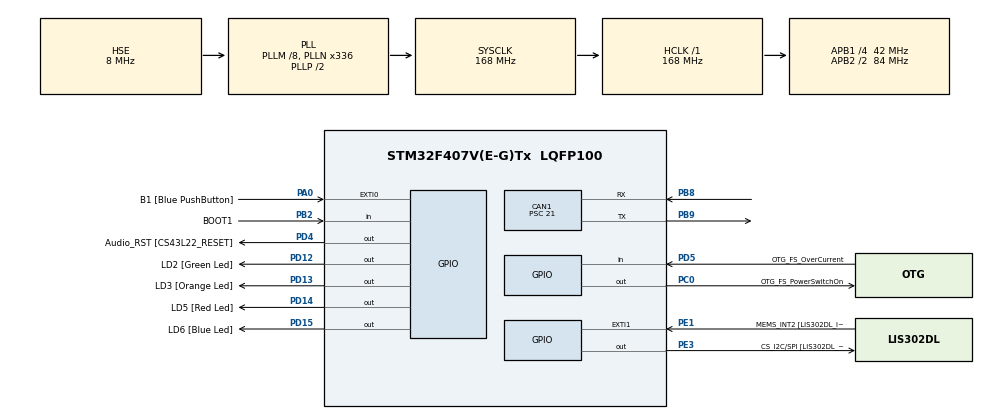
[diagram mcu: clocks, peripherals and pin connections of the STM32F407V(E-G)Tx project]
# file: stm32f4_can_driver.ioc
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CAN1.BS1=CAN_BS1_12TQ
CAN1.BS2=CAN_BS2_3TQ
CAN1.CalculateBaudRate=125000
CAN1.CalculateTimeBit=8000
CAN1.CalculateTimeQuantum=500.0
CAN1.Prescaler=21
Mcu.Family=STM32F4
Mcu.Name=STM32F407V(E-G)Tx
Mcu.Package=LQFP100
NVIC.CAN1_RX0_IRQn=true\:0\:0\:false\:false\:true\:true\:true\:true
NVIC.PriorityGroup=NVIC_PRIORITYGROUP_0
PA0-WKUP.GPIO_Label=B1 [Blue PushButton]
PA0-WKUP.GPIO_ModeDefaultEXTI=GPIO_MODE_EVT_RISING
PA0-WKUP.GPIO_PuPd=GPIO_NOPULL
PA0-WKUP.Signal=GPXTI0
PA10.GPIO_Label=OTG_FS_ID
PA10.GPIO_Mode=GPIO_MODE_AF_PP
PA10.GPIO_PuPd=GPIO_NOPULL
PA10.GPIO_Speed=GPIO_SPEED_FREQ_LOW
PA10.Signal=USB_OTG_FS_ID
PA11.GPIO_Label=OTG_FS_DM
PA11.GPIO_Mode=GPIO_MODE_AF_PP
PA11.GPIO_PuPd=GPIO_NOPULL
PA11.GPIO_Speed=GPIO_SPEED_FREQ_LOW
PA11.Signal=USB_OTG_FS_DM
PA12.GPIO_Label=OTG_FS_DP
PA12.GPIO_Mode=GPIO_MODE_AF_PP
PA12.GPIO_PuPd=GPIO_NOPULL
PA12.GPIO_Speed=GPIO_SPEED_FREQ_LOW
PA12.Signal=USB_OTG_FS_DP
PA13.GPIO_Label=SWDIO
PA13.Mode=Serial_Wire
PA13.Signal=SYS_JTMS-SWDIO
PA14.GPIO_Label=SWCLK
PA14.Mode=Serial_Wire
PA14.Signal=SYS_JTCK-SWCLK
PA4.GPIO_Label=I2S3_WS [CS43L22_LRCK]
PA4.GPIO_Mode=GPIO_MODE_AF_PP
PA4.GPIO_PuPd=GPIO_NOPULL
PA4.GPIO_Speed=GPIO_SPEED_FREQ_LOW
PA4.Signal=I2S3_WS
PA5.GPIO_Label=SPI1_SCK [LIS302DL_SCL/SPC]
PA5.GPIO_Mode=GPIO_MODE_AF_PP
PA5.GPIO_PuPd=GPIO_NOPULL
PA5.GPIO_Speed=GPIO_SPEED_FREQ_LOW
PA5.Signal=SPI1_SCK
PA6.GPIO_Label=SPI1_MISO [LIS302DL_SDO]
PA6.GPIO_Mode=GPIO_MODE_AF_PP
PA6.GPIO_PuPd=GPIO_NOPULL
PA6.GPIO_Speed=GPIO_SPEED_FREQ_LOW
PA6.Signal=SPI1_MISO
PA7.GPIO_Label=SPI1_MOSI [LIS302DL_SDA/SDI/SDO]
PA7.GPIO_Mode=GPIO_MODE_AF_PP
PA7.GPIO_PuPd=GPIO_NOPULL
PA7.GPIO_Speed=GPIO_SPEED_FREQ_LOW
PA7.Signal=SPI1_MOSI
PA9.GPIO_Label=VBUS_FS
PA9.GPIO_Mode=GPIO_MODE_INPUT
PA9.GPIO_PuPd=GPIO_NOPULL
PA9.Signal=USB_OTG_FS_VBUS
PB10.GPIO_Label=CLK_IN [MP45DT02_CLK]
PB10.GPIO_Mode=GPIO_MODE_AF_PP
PB10.GPIO_PuPd=GPIO_NOPULL
PB10.GPIO_Speed=GPIO_SPEED_FREQ_LOW
PB10.Signal=I2S2_CK
PB2.GPIO_Label=BOOT1
PB2.GPIO_Mode=GPIO_MODE_INPUT
PB2.GPIO_PuPd=GPIO_NOPULL
PB2.Signal=GPIO_Input
PB3.GPIO_Label=SWO
PB3.Signal=SYS_JTDO-SWO
PB6.GPIO_Label=Audio_SCL [CS43L22_SCL]
PB6.GPIO_Mode=GPIO_MODE_AF_OD
PB6.GPIO_Pu=GPIO_PULLUP
PB6.GPIO_PuPd=GPIO_NOPULL
PB6.GPIO_Speed=GPIO_SPEED_FREQ_LOW
PB6.Signal=I2C1_SCL
PB8.Mode=CAN_Activate
PB8.Signal=CAN1_RX
PB9.Mode=CAN_Activate
PB9.Signal=CAN1_TX
PC0.GPIO_Label=OTG_FS_PowerSwitchOn
PC0.GPIO_PuPd=GPIO_NOPULL
PC0.GPIO_Speed=GPIO_SPEED_FREQ_LOW
PC0.PinState=GPIO_PIN_SET
PC0.Signal=GPIO_Output
PC10.GPIO_Label=I2S3_SCK [CS43L22_SCLK]
PC10.GPIO_Mode=GPIO_MODE_AF_PP
PC10.GPIO_PuPd=GPIO_NOPULL
PC10.GPIO_Speed=GPIO_SPEED_FREQ_LOW
PC10.Signal=I2S3_CK
PC12.GPIO_Label=I2S3_SD [CS43L22_SDIN]
PC12.GPIO_Mode=GPIO_MODE_AF_PP
PC12.GPIO_PuPd=GPIO_NOPULL
PC12.GPIO_Speed=GPIO_SPEED_FREQ_LOW
PC12.Signal=I2S3_SD
PC14-OSC32_IN.GPIO_Label=PC14-OSC32_IN
PC14-OSC32_IN.Mode=LSE-External-Oscillator
PC14-OSC32_IN.Signal=RCC_OSC32_IN
PC15-OSC32_OUT.GPIO_Label=PC15-OSC32_OUT
PC15-OSC32_OUT.Mode=LSE-External-Oscillator
PC15-OSC32_OUT.Signal=RCC_OSC32_OUT
PC3.GPIO_Label=PDM_OUT [MP45DT02_DOUT]
PC3.GPIO_Mode=GPIO_MODE_AF_PP
PC3.GPIO_PuPd=GPIO_NOPULL
PC3.GPIO_Speed=GPIO_SPEED_FREQ_LOW
PC3.Signal=I2S2_SD
PC7.GPIO_Label=I2S3_MCK [CS43L22_MCLK]
PC7.GPIO_Mode=GPIO_MODE_AF_PP
PC7.GPIO_PuPd=GPIO_NOPULL
PC7.GPIO_Speed=GPIO_SPEED_FREQ_LOW
PC7.Signal=I2S3_MCK
PD12.GPIO_Label=LD2 [Green Led]
PD12.Signal=GPIO_Output
PD13.GPIO_Label=LD3 [Orange Led]
PD13.GPIO_PuPd=GPIO_NOPULL
PD13.GPIO_Speed=GPIO_SPEED_FREQ_LOW
PD13.Signal=GPIO_Output
PD14.GPIO_Label=LD5 [Red Led]
PD14.GPIO_PuPd=GPIO_NOPULL
PD14.GPIO_Speed=GPIO_SPEED_FREQ_LOW
PD14.Signal=GPIO_Output
PD15.GPIO_Label=LD6 [Blue Led]
PD15.GPIO_PuPd=GPIO_NOPULL
PD15.GPIO_Speed=GPIO_SPEED_FREQ_LOW
PD15.Signal=GPIO_Output
PD4.GPIO_Label=Audio_RST [CS43L22_RESET]
PD4.GPIO_PuPd=GPIO_NOPULL
PD4.GPIO_Speed=GPIO_SPEED_FREQ_LOW
PD4.Signal=GPIO_Output
PD5.GPIO_Label=OTG_FS_OverCurrent
PD5.GPIO_Mode=GPIO_MODE_INPUT
PD5.GPIO_PuPd=GPIO_NOPULL
PD5.Signal=GPIO_Input
PE1.GPIO_Label=MEMS_INT2 [LIS302DL_INT2]
PE1.GPIO_ModeDefaultEXTI=GPIO_MODE_EVT_RISING
PE1.GPIO_PuPd=GPIO_NOPULL
PE1.Signal=GPXTI1
PE3.GPIO_Label=CS_I2C/SPI [LIS302DL_CS_I2C/SPI]
PE3.GPIO_PuPd=GPIO_NOPULL
PE3.GPIO_Speed=GPIO_SPEED_FREQ_LOW
PE3.Signal=GPIO_Output
PH0-OSC_IN.GPIO_Label=PH0-OSC_IN
PH0-OSC_IN.Mode=HSE-External-Oscillator
PH0-OSC_IN.Signal=RCC_OSC_IN
PH1-OSC_OUT.GPIO_Label=PH1-OSC_OUT
PH1-OSC_OUT.Mode=HSE-External-Oscillator
PH1-OSC_OUT.Signal=RCC_OSC_OUT
ProjectManager.HeapSize=0x200
ProjectManager.StackSize=0x400
ProjectManager.TargetToolchain=STM32CubeIDE
RCC.48MHZClocksFreq_Value=48000000
RCC.AHBFreq_Value=168000000
RCC.APB1CLKDivider=RCC_HCLK_DIV4
RCC.APB1Freq_Value=42000000
RCC.APB1TimFreq_Value=84000000
RCC.APB2CLKDivider=RCC_HCLK_DIV2
RCC.APB2Freq_Value=84000000
RCC.APB2TimFreq_Value=168000000
RCC.CortexFreq_Value=168000000
RCC.HCLKFreq_Value=168000000
RCC.HSE_VALUE=8000000
RCC.HSI_VALUE=16000000
RCC.PLLM=8
RCC.PLLN=336
RCC.PLLQ=7
RCC.PLLSourceVirtual=RCC_PLLSOURCE_HSE
RCC.SYSCLKFreq_VALUE=168000000
RCC.SYSCLKSource=RCC_SYSCLKSOURCE_PLLCLK
RCC.VCOOutputFreq_Value=336000000
board=STM32F407G-DISC1

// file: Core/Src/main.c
/* USER CODE BEGIN Header */
/**
  ******************************************************************************
  * @file           : main.c
  * @brief          : Main program body
  ******************************************************************************
  * @attention
  *
  * Copyright (c) 2025 STMicroelectronics.
  * All rights reserved.
  *
  * This software is licensed under terms that can be found in the LICENSE file
  * in the root directory of this software component.
  * If no LICENSE file comes with this software, it is provided AS-IS.
  *
  ******************************************************************************
  */
/* USER CODE END Header */
#include "main.h"

/* USER CODE BEGIN Includes */
#include "can.h"
#include "sdev.h"
#include <lely/co/dev.h>
#include <lely/can/net.h>
#include <lely/co/nmt.h>
#include <lely/co/sdo.h>
#include <lely/co/tpdo.h>
#include <lely/co/time.h>

#include <time.h>
/* USER CODE END Includes */

CAN_HandleTypeDef hcan1;

/* USER CODE BEGIN PV */
static int last_button_state = 1; // 1 = Released (GPIO_PIN_SET)
/* USER CODE END PV */

void SystemClock_Config(void);
static void MX_GPIO_Init(void);
static void MX_CAN1_Init(void);
/* USER CODE BEGIN PFP */
static int on_can_send(const struct can_msg *msg, void *data);
static void on_nmt_cs(co_nmt_t *nmt, co_unsigned8_t cs, void *data);
static void on_time(co_time_t *time, const struct timespec *tp, void *data);
static co_unsigned32_t on_dn_2000_00(co_sub_t *sub, struct co_sdo_req *req,
		void *data);
static co_unsigned32_t on_up_2001_00(const co_sub_t *sub,
		struct co_sdo_req *req, void *data);
static co_unsigned32_t on_dn_led_control(co_sub_t *sub,
		struct co_sdo_req *req, void *data);

/* USER CODE END PFP */

int main(void)
{

  /* MCU Configuration--------------------------------------------------------*/

  /* Reset of all peripherals, Initializes the Flash interface and the Systick. */
  HAL_Init();

  /* Configure the system clock */
  SystemClock_Config();

  /* Initialize all configured peripherals */
  MX_GPIO_Init();
  MX_CAN1_Init();
  /* USER CODE BEGIN 2 */
  // Initialize our custom CAN abstraction layer.
  can_init();

  // Initialize the CAN network interface.
  can_net_t *net = can_net_create();
  // assert(net); // We can add asserts later if needed

  // Set the function to be called by the Lely stack for transmitting frames.
  can_net_set_send_func(net, &on_can_send, NULL);

  // Create a dynamic object dictionary from the static one.
  co_dev_t *dev = co_dev_create_from_sdev(&slave_sdev); // Use our 'slave_sdev'
  // assert(dev);

  // Create the CANopen NMT service.
  co_nmt_t *nmt = co_nmt_create(net, dev);
  // assert(nmt);

  // Start the NMT service by resetting the node (triggers boot-up message).
  co_nmt_cs_ind(nmt, CO_NMT_CS_RESET_NODE);

  // Set the NMT indication function to handle commands from the master.
  co_nmt_set_cs_ind(nmt, &on_nmt_cs, NULL);

  // Set the TIME indication function.
  co_time_set_ind(co_nmt_get_time(nmt), &on_time, NULL);

  // Register our custom functions to be called on SDO access to specific objects.
  co_sub_set_dn_ind(co_dev_find_sub(dev, 0x2000, 0x00), &on_dn_2000_00, NULL);
  co_sub_set_up_ind(co_dev_find_sub(dev, 0x2001, 0x00), &on_up_2001_00, NULL);

  // Register the download indication function for the LED control object.
  co_sub_set_dn_ind(co_dev_find_sub(dev, 0x2100, 0x00), &on_dn_led_control, NULL);
  /* USER CODE END 2 */

  /* Infinite loop */
  while (1)
  {

    /* USER CODE BEGIN 3 */
	  // Update the Lely stack's internal clock.
	  // HAL_GetTick() returns milliseconds since startup.
	  uint32_t ms = HAL_GetTick();
	  struct timespec now;
	  // Convert milliseconds to a timespec struct (seconds and nanoseconds)
	  now.tv_sec = ms / 1000;
	  now.tv_nsec = (ms % 1000) * 1000000;
	  can_net_set_time(net, &now);

	  struct can_msg msg;

	  // Continuously check our driver's buffer for new messages.
	  if (can_recv(&msg, 1)) {
		  // If a message is received, pass it to the Lely stack for processing.
		  can_net_recv(net, &msg);
	  }

	  // Read the current state of the user button (PA0).
	  // Note: Button pressed = pin is LOW (GPIO_PIN_RESET).
	  int current_button_state = HAL_GPIO_ReadPin(GPIOA, GPIO_PIN_0);

	  // Check if there is a change from the last stable state.
	  if (current_button_state != last_button_state)
	  {
		  // Wait for a short time to debounce the mechanical switch.
		  HAL_Delay(50); // 50ms delay for debouncing

		  // Read the state again after the delay.
		  current_button_state = HAL_GPIO_ReadPin(GPIOA, GPIO_PIN_0);

		  // If the state is still different, it's a valid press/release.
		  if (current_button_state != last_button_state)
		  {
			  last_button_state = current_button_state;

			  // Convert GPIO state to our application logic value (1=pressed, 0=released)
			  uint8_t od_value = (current_button_state == GPIO_PIN_RESET) ? 1 : 0;

			  // Find the button object (0x2110) in our Object Dictionary.
			  co_sub_t *sub = co_dev_find_sub(dev, 0x2110, 0x00);
			  if (sub) {
				  // Update the value in the local Object Dictionary.
				  co_sub_set_val_u8(sub, od_value);

				  // Trigger a TPDO event for this object.
				  // Lely will check if this object is mapped to a TPDO and send it.
				  co_dev_tpdo_event(dev, 0x2110, 0x00);
			  }
		  }
	  }
  }
  /* USER CODE END 3 */
}

void SystemClock_Config(void)
{
  RCC_OscInitTypeDef RCC_OscInitStruct = {0};
  RCC_ClkInitTypeDef RCC_ClkInitStruct = {0};

  /** Configure the main internal regulator output voltage
  */
  __HAL_RCC_PWR_CLK_ENABLE();
  __HAL_PWR_VOLTAGESCALING_CONFIG(PWR_REGULATOR_VOLTAGE_SCALE1);

  /** Initializes the RCC Oscillators according to the specified parameters
  * in the RCC_OscInitTypeDef structure.
  */
  RCC_OscInitStruct.OscillatorType = RCC_OSCILLATORTYPE_HSE;
  RCC_OscInitStruct.HSEState = RCC_HSE_ON;
  RCC_OscInitStruct.PLL.PLLState = RCC_PLL_ON;
  RCC_OscInitStruct.PLL.PLLSource = RCC_PLLSOURCE_HSE;
  RCC_OscInitStruct.PLL.PLLM = 8;
  RCC_OscInitStruct.PLL.PLLN = 336;
  RCC_OscInitStruct.PLL.PLLP = RCC_PLLP_DIV2;
  RCC_OscInitStruct.PLL.PLLQ = 7;
  if (HAL_RCC_OscConfig(&RCC_OscInitStruct) != HAL_OK)
  {
    Error_Handler();
  }

  /** Initializes the CPU, AHB and APB buses clocks
  */
  RCC_ClkInitStruct.ClockType = RCC_CLOCKTYPE_HCLK|RCC_CLOCKTYPE_SYSCLK
                              |RCC_CLOCKTYPE_PCLK1|RCC_CLOCKTYPE_PCLK2;
  RCC_ClkInitStruct.SYSCLKSource = RCC_SYSCLKSOURCE_PLLCLK;
  RCC_ClkInitStruct.AHBCLKDivider = RCC_SYSCLK_DIV1;
  RCC_ClkInitStruct.APB1CLKDivider = RCC_HCLK_DIV4;
  RCC_ClkInitStruct.APB2CLKDivider = RCC_HCLK_DIV2;

  if (HAL_RCC_ClockConfig(&RCC_ClkInitStruct, FLASH_LATENCY_5) != HAL_OK)
  {
    Error_Handler();
  }
}

static void MX_CAN1_Init(void)
{

  hcan1.Instance = CAN1;
  hcan1.Init.Prescaler = 21;
  hcan1.Init.Mode = CAN_MODE_NORMAL;
  hcan1.Init.SyncJumpWidth = CAN_SJW_1TQ;
  hcan1.Init.TimeSeg1 = CAN_BS1_12TQ;
  hcan1.Init.TimeSeg2 = CAN_BS2_3TQ;
  hcan1.Init.TimeTriggeredMode = DISABLE;
  hcan1.Init.AutoBusOff = DISABLE;
  hcan1.Init.AutoWakeUp = DISABLE;
  hcan1.Init.AutoRetransmission = DISABLE;
  hcan1.Init.ReceiveFifoLocked = DISABLE;
  hcan1.Init.TransmitFifoPriority = DISABLE;
  if (HAL_CAN_Init(&hcan1) != HAL_OK)
  {
    Error_Handler();
  }

}

static void MX_GPIO_Init(void)
{
  GPIO_InitTypeDef GPIO_InitStruct = {0};

  /* GPIO Ports Clock Enable */
  __HAL_RCC_GPIOE_CLK_ENABLE();
  __HAL_RCC_GPIOC_CLK_ENABLE();
  __HAL_RCC_GPIOH_CLK_ENABLE();
  __HAL_RCC_GPIOA_CLK_ENABLE();
  __HAL_RCC_GPIOB_CLK_ENABLE();
  __HAL_RCC_GPIOD_CLK_ENABLE();

  /*Configure GPIO pin Output Level */
  HAL_GPIO_WritePin(CS_I2C_SPI_GPIO_Port, CS_I2C_SPI_Pin, GPIO_PIN_RESET);

  /*Configure GPIO pin Output Level */
  HAL_GPIO_WritePin(OTG_FS_PowerSwitchOn_GPIO_Port, OTG_FS_PowerSwitchOn_Pin, GPIO_PIN_SET);

  /*Configure GPIO pin Output Level */
  HAL_GPIO_WritePin(GPIOD, LD2_Pin|LD3_Pin|LD5_Pin|LD6_Pin
                          |Audio_RST_Pin, GPIO_PIN_RESET);

  /*Configure GPIO pin : CS_I2C_SPI_Pin */
  GPIO_InitStruct.Pin = CS_I2C_SPI_Pin;
  GPIO_InitStruct.Mode = GPIO_MODE_OUTPUT_PP;
  GPIO_InitStruct.Pull = GPIO_NOPULL;
  GPIO_InitStruct.Speed = GPIO_SPEED_FREQ_LOW;
  HAL_GPIO_Init(CS_I2C_SPI_GPIO_Port, &GPIO_InitStruct);

  /*Configure GPIO pin : OTG_FS_PowerSwitchOn_Pin */
  GPIO_InitStruct.Pin = OTG_FS_PowerSwitchOn_Pin;
  GPIO_InitStruct.Mode = GPIO_MODE_OUTPUT_PP;
  GPIO_InitStruct.Pull = GPIO_NOPULL;
  GPIO_InitStruct.Speed = GPIO_SPEED_FREQ_LOW;
  HAL_GPIO_Init(OTG_FS_PowerSwitchOn_GPIO_Port, &GPIO_InitStruct);

  /*Configure GPIO pin : PDM_OUT_Pin */
  GPIO_InitStruct.Pin = PDM_OUT_Pin;
  GPIO_InitStruct.Mode = GPIO_MODE_AF_PP;
  GPIO_InitStruct.Pull = GPIO_NOPULL;
  GPIO_InitStruct.Speed = GPIO_SPEED_FREQ_LOW;
  GPIO_InitStruct.Alternate = GPIO_AF5_SPI2;
  HAL_GPIO_Init(PDM_OUT_GPIO_Port, &GPIO_InitStruct);

  /*Configure GPIO pin : B1_Pin */
  GPIO_InitStruct.Pin = B1_Pin;
  GPIO_InitStruct.Mode = GPIO_MODE_EVT_RISING;
  GPIO_InitStruct.Pull = GPIO_NOPULL;
  HAL_GPIO_Init(B1_GPIO_Port, &GPIO_InitStruct);

  /*Configure GPIO pin : I2S3_WS_Pin */
  GPIO_InitStruct.Pin = I2S3_WS_Pin;
  GPIO_InitStruct.Mode = GPIO_MODE_AF_PP;
  GPIO_InitStruct.Pull = GPIO_NOPULL;
  GPIO_InitStruct.Speed = GPIO_SPEED_FREQ_LOW;
  GPIO_InitStruct.Alternate = GPIO_AF6_SPI3;
  HAL_GPIO_Init(I2S3_WS_GPIO_Port, &GPIO_InitStruct);

  /*Configure GPIO pins : SPI1_SCK_Pin SPI1_MISO_Pin SPI1_MOSI_Pin */
  GPIO_InitStruct.Pin = SPI1_SCK_Pin|SPI1_MISO_Pin|SPI1_MOSI_Pin;
  GPIO_InitStruct.Mode = GPIO_MODE_AF_PP;
  GPIO_InitStruct.Pull = GPIO_NOPULL;
  GPIO_InitStruct.Speed = GPIO_SPEED_FREQ_LOW;
  GPIO_InitStruct.Alternate = GPIO_AF5_SPI1;
  HAL_GPIO_Init(GPIOA, &GPIO_InitStruct);

  /*Configure GPIO pin : BOOT1_Pin */
  GPIO_InitStruct.Pin = BOOT1_Pin;
  GPIO_InitStruct.Mode = GPIO_MODE_INPUT;
  GPIO_InitStruct.Pull = GPIO_NOPULL;
  HAL_GPIO_Init(BOOT1_GPIO_Port, &GPIO_InitStruct);

  /*Configure GPIO pin : CLK_IN_Pin */
  GPIO_InitStruct.Pin = CLK_IN_Pin;
  GPIO_InitStruct.Mode = GPIO_MODE_AF_PP;
  GPIO_InitStruct.Pull = GPIO_NOPULL;
  GPIO_InitStruct.Speed = GPIO_SPEED_FREQ_LOW;
  GPIO_InitStruct.Alternate = GPIO_AF5_SPI2;
  HAL_GPIO_Init(CLK_IN_GPIO_Port, &GPIO_InitStruct);

  /*Configure GPIO pins : LD2_Pin LD3_Pin LD5_Pin LD6_Pin
                           Audio_RST_Pin */
  GPIO_InitStruct.Pin = LD2_Pin|LD3_Pin|LD5_Pin|LD6_Pin
                          |Audio_RST_Pin;
  GPIO_InitStruct.Mode = GPIO_MODE_OUTPUT_PP;
  GPIO_InitStruct.Pull = GPIO_NOPULL;
  GPIO_InitStruct.Speed = GPIO_SPEED_FREQ_LOW;
  HAL_GPIO_Init(GPIOD, &GPIO_InitStruct);

  /*Configure GPIO pins : I2S3_MCK_Pin I2S3_SCK_Pin I2S3_SD_Pin */
  GPIO_InitStruct.Pin = I2S3_MCK_Pin|I2S3_SCK_Pin|I2S3_SD_Pin;
  GPIO_InitStruct.Mode = GPIO_MODE_AF_PP;
  GPIO_InitStruct.Pull = GPIO_NOPULL;
  GPIO_InitStruct.Speed = GPIO_SPEED_FREQ_LOW;
  GPIO_InitStruct.Alternate = GPIO_AF6_SPI3;
  HAL_GPIO_Init(GPIOC, &GPIO_InitStruct);

  /*Configure GPIO pin : VBUS_FS_Pin */
  GPIO_InitStruct.Pin = VBUS_FS_Pin;
  GPIO_InitStruct.Mode = GPIO_MODE_INPUT;
  GPIO_InitStruct.Pull = GPIO_NOPULL;
  HAL_GPIO_Init(VBUS_FS_GPIO_Port, &GPIO_InitStruct);

  /*Configure GPIO pins : OTG_FS_ID_Pin OTG_FS_DM_Pin OTG_FS_DP_Pin */
  GPIO_InitStruct.Pin = OTG_FS_ID_Pin|OTG_FS_DM_Pin|OTG_FS_DP_Pin;
  GPIO_InitStruct.Mode = GPIO_MODE_AF_PP;
  GPIO_InitStruct.Pull = GPIO_NOPULL;
  GPIO_InitStruct.Speed = GPIO_SPEED_FREQ_LOW;
  GPIO_InitStruct.Alternate = GPIO_AF10_OTG_FS;
  HAL_GPIO_Init(GPIOA, &GPIO_InitStruct);

  /*Configure GPIO pin : OTG_FS_OverCurrent_Pin */
  GPIO_InitStruct.Pin = OTG_FS_OverCurrent_Pin;
  GPIO_InitStruct.Mode = GPIO_MODE_INPUT;
  GPIO_InitStruct.Pull = GPIO_NOPULL;
  HAL_GPIO_Init(OTG_FS_OverCurrent_GPIO_Port, &GPIO_InitStruct);

  /*Configure GPIO pin : Audio_SCL_Pin */
  GPIO_InitStruct.Pin = Audio_SCL_Pin;
  GPIO_InitStruct.Mode = GPIO_MODE_AF_OD;
  GPIO_InitStruct.Pull = GPIO_PULLUP;
  GPIO_InitStruct.Speed = GPIO_SPEED_FREQ_LOW;
  GPIO_InitStruct.Alternate = GPIO_AF4_I2C1;
  HAL_GPIO_Init(Audio_SCL_GPIO_Port, &GPIO_InitStruct);

  /*Configure GPIO pin : MEMS_INT2_Pin */
  GPIO_InitStruct.Pin = MEMS_INT2_Pin;
  GPIO_InitStruct.Mode = GPIO_MODE_EVT_RISING;
  GPIO_InitStruct.Pull = GPIO_NOPULL;
  HAL_GPIO_Init(MEMS_INT2_GPIO_Port, &GPIO_InitStruct);

}

/* USER CODE BEGIN 4 */
/**
 * @brief Bridge function for Lely's can_net to use our driver's send function.
 * @note  This function mirrors the implementation in the LPC17xx reference project.
 */
static int on_can_send(const struct can_msg *msg, void *data)
{
	(void)data; // Suppress unused parameter warning
	return (can_send(msg, 1) == 1) ? 0 : -1;
}

/**
 * @brief NMT command service indication function.
 * @note  Mirrors the LPC project, but replaces exit(0) with a HAL_NVIC_SystemReset().
 */
static void on_nmt_cs(co_nmt_t *nmt, co_unsigned8_t cs, void *data)
{
	(void)data;
	(void)nmt; // Suppress unused parameter warning for now

	switch (cs) {
	case CO_NMT_CS_START:
		// Logic for 'Start' command can be added here.
		break;
	case CO_NMT_CS_STOP:
		// Logic for 'Stop' command can be added here.
		break;
	case CO_NMT_CS_ENTER_PREOP:
		// Logic for 'Enter Pre-Operational' can be added here.
		break;
	case CO_NMT_CS_RESET_NODE:
		// Perform a software reset of the microcontroller.
		HAL_NVIC_SystemReset();
		break;
	case CO_NMT_CS_RESET_COMM:
		// Logic for 'Reset Communication' can be added here.
		break;
	}
}

/**
 * @brief TIME stamp service indication function.
 * @note  This is a placeholder, as the Discovery board does not have a
 *        battery-backed Real-Time Clock to be set.
 */
static void on_time(co_time_t *time, const struct timespec *tp, void *data)
{
	(void)time;
	(void)tp;
	(void)data;
}

/**
 * @brief Custom SDO download (write) indication function for object 0x2000.
 * @note This function mirrors the implementation in the LPC17xx reference project.
 *       It only accepts the value 42 and returns a parameter error otherwise.
 */
static co_unsigned32_t on_dn_2000_00(co_sub_t *sub, struct co_sdo_req *req, void *data)
{
	(void)data;

	co_unsigned32_t ac = 0;
	co_unsigned16_t type = co_sub_get_type(sub);
	union co_val val;

	if (co_sdo_req_dn_val(req, type, &val, &ac) == -1)
		return ac;

	// Check if the received value is valid.
	if (val.u32 != 42) {
		ac = CO_SDO_AC_PARAM;
		goto error;
	}

	// Write the value to the local object dictionary.
	co_sub_dn(sub, &val);

error:
	co_val_fini(type, &val);
	return ac;
}

/**
 * @brief Custom SDO upload (read) indication function for object 0x2001.
 * @note This function mirrors the implementation in the LPC17xx reference project.
 *       It always returns the static value 42.
 */
static co_unsigned32_t on_up_2001_00(const co_sub_t *sub, struct co_sdo_req *req, void *data)
{
	(void)sub;
	(void)data;

	co_unsigned16_t type = CO_DEFTYPE_UNSIGNED32;
	co_unsigned32_t val = 42;

	co_unsigned32_t ac = 0;
	co_sdo_req_up_val(req, type, &val, &ac);
	return ac;
}

/**
 * @brief SDO download indication function for the LED control object (0x2100).
 *        This function is also triggered when a mapped RPDO updates the object.
 * @note  Mirrors the LPC project, adapted for STM32 HAL and three LEDs.
 */
static co_unsigned32_t on_dn_led_control(co_sub_t *sub, struct co_sdo_req *req, void *data)
{
	(void)data; // Unused parameter
	co_unsigned32_t ac = 0;
	co_unsigned16_t type = co_sub_get_type(sub);
	union co_val val;

	// This function extracts the value from the SDO/PDO request.
	if (co_sdo_req_dn_val(req, type, &val, &ac) == -1)
		return ac;

	// Control the LEDs based on the received 8-bit value.
	// HAL_GPIO_WritePin takes GPIO_PIN_SET (HIGH) to turn LED ON (for this board).
	// We will map:
	// Bit 0 -> Green LED (PD12)
	// Bit 1 -> Orange LED (PD13)
	// Bit 2 -> Red LED (PD14)
	HAL_GPIO_WritePin(GPIOD, GPIO_PIN_12, (val.u8 & 0x01) ? GPIO_PIN_SET : GPIO_PIN_RESET);
	HAL_GPIO_WritePin(GPIOD, GPIO_PIN_13, (val.u8 & 0x02) ? GPIO_PIN_SET : GPIO_PIN_RESET);
	HAL_GPIO_WritePin(GPIOD, GPIO_PIN_14, (val.u8 & 0x04) ? GPIO_PIN_SET : GPIO_PIN_RESET);

	// Write the new value to the local object dictionary.
	co_sub_dn(sub, &val);

	co_val_fini(type, &val);
	return ac;
}
/* USER CODE END 4 */

void Error_Handler(void)
{
  __disable_irq();
  while (1)
  {
  }
}
